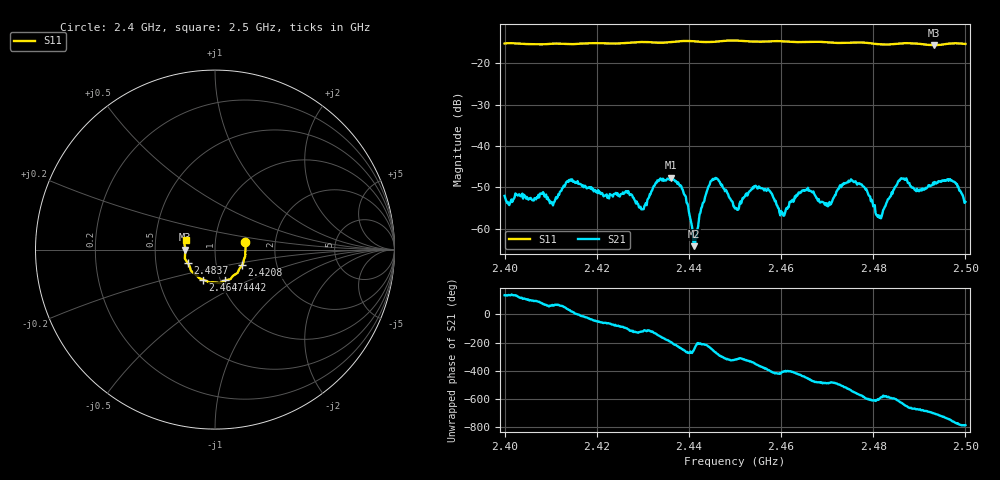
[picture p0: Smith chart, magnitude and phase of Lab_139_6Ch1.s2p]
# Hz S RI R 50
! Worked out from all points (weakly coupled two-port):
!   601 points, 2.4 GHz to 2.5 GHz, reference 50 ohm
!   highest |S21| = -47.71 dB at 2.4362 GHz (marker M1); lowest = -64.3 dB at 2.4412 GHz (marker M2)
!   lowest |S11| = -15.6 dB at 2.4932 GHz (marker M3), VSWR 1.40, Z = 35.8 - j0.0844 ohm
!   |S11| at or under -10 dB: start of sweep to end of sweep
!   S12 and S22 are empty: the file has one direction only
!   S11 on the Smith chart (normalised r, x): 2.4 GHz: 1.40, +0.12; 2.4208 GHz: 1.33, -0.24; 2.4442 GHz: 1.05, -0.37; 2.4647 GHz: 0.83, -0.29; 2.4837 GHz: 0.73, -0.11; 2.5 GHz: 0.72, +0.08
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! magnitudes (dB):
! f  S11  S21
! 2.4 GHz  -15.2  -52.1
! 2.4167 GHz  -15.3  -49.4
! 2.4208 GHz  -15.2  -51.7
! 2.4298 GHz  -14.9  -55.4
! 2.4333 GHz  -15.0  -48.5
! 2.4362 GHz  -14.9  -47.7
! 2.4388 GHz  -14.6  -51.4
! 2.4412 GHz  -14.7  -64.3
! 2.4442 GHz  -14.9  -50.1
! 2.4462 GHz  -14.7  -48.0
! 2.45 GHz  -14.5  -55.2
! 2.4547 GHz  -14.8  -49.9
! 2.4603 GHz  -14.7  -56.2
! 2.4647 GHz  -14.9  -50.8
! 2.4667 GHz  -14.8  -51.1
! 2.4703 GHz  -14.9  -54.4
! 2.4757 GHz  -15.0  -48.7
! 2.4813 GHz  -15.4  -57.4
! 2.4833 GHz  -15.5  -52.8
! 2.4837 GHz  -15.4  -52.3
! 2.4932 GHz  -15.6  -49.3
! 2.5 GHz  -15.3  -53.6
